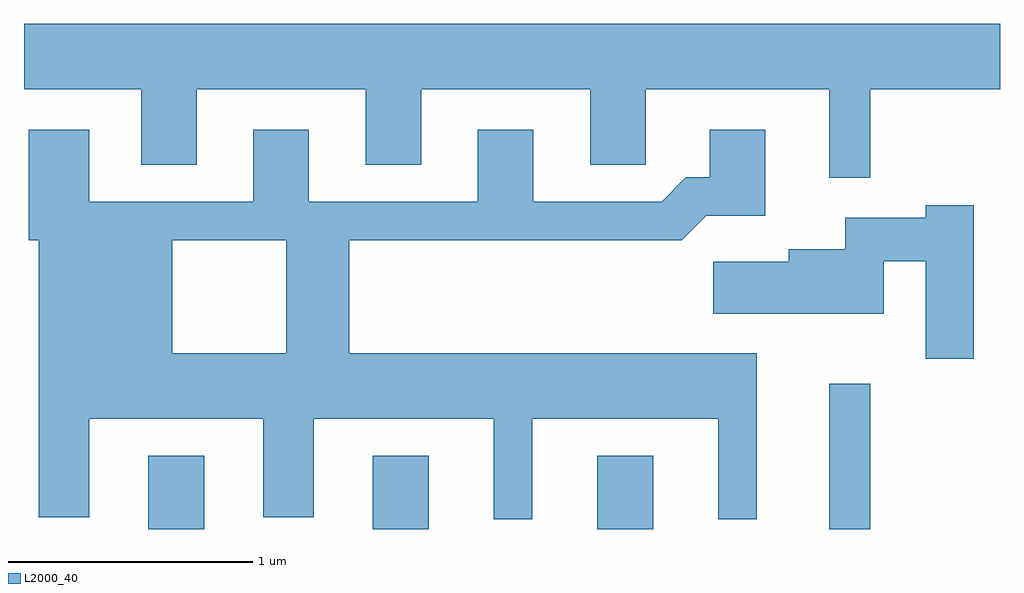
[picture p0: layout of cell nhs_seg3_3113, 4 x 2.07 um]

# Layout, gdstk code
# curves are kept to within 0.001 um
import gdstk
lib = gdstk.Library(unit=1e-6, precision=1e-09)
def R(c, l, rs):  # rectangles x0, y0, x1, y1
    for r in rs: c.add(gdstk.rectangle(r[:2], r[2:], *l))
def A(c, l, x, y, w, h, nx, ny, dx, dy):  # array of equal rectangles
    R(c, l, [(x+i*dx, y+j*dy, x+i*dx+w, y+j*dy+h) for i in range(nx) for j in range(ny)])
def P(c, l, *ps):  # polygons
    for p in ps: c.add(gdstk.Polygon(p, *l))
L2000_40 = (2000, 40)

nhs_seg3_3113 = lib.new_cell('nhs_seg3_3113')
A(nhs_seg3_3113, L2000_40, 276.121, 1221.892, 0.228, 0.302, 3, 1, 0.92, 0)
R(nhs_seg3_3113, L2000_40, [(278.911,1221.892,279.079,1222.488)])
P(nhs_seg3_3113, L2000_40, [(279.079,1223.696),(279.611,1223.696),(279.611,1223.964),(275.611,1223.964),(275.611,1223.696),(276.091,1223.696),(276.091,1223.386),(276.319,1223.386),(276.319,1223.696),(277.011,1223.696),(277.011,1223.386),(277.239,1223.386),(277.239,1223.696),(277.931,1223.696),(277.931,1223.386),(278.159,1223.386),(278.159,1223.696),(278.911,1223.696),(278.911,1223.333),(279.079,1223.333)],
  [(275.879,1221.941),(275.879,1222.346),(276.591,1222.346),(276.591,1221.941),(276.799,1221.941),(276.799,1222.346),(277.536,1222.346),(277.536,1221.933),(277.694,1221.933),(277.694,1222.346),(278.456,1222.346),(278.456,1221.933),(278.614,1221.933),(278.614,1222.614),(276.944,1222.614),(276.944,1223.076),(278.307,1223.076),(278.407,1223.176),(278.649,1223.176),(278.649,1223.529),(278.421,1223.529),(278.421,1223.334),(278.324,1223.334),(278.224,1223.234),(277.699,1223.234),(277.699,1223.529),(277.471,1223.529),(277.471,1223.234),(276.779,1223.234),(276.779,1223.529),(276.551,1223.529),(276.551,1223.234),(275.879,1223.234),(275.879,1223.529),(275.631,1223.529),(275.631,1223.076),(275.671,1223.076),(275.671,1222.614),(276.219,1222.614),(276.219,1223.076),(276.686,1223.076),(276.686,1222.614),(275.671,1222.614),(275.671,1221.941)],
  [(279.504,1223.219),(279.306,1223.219),(279.306,1223.169),(278.976,1223.169),(278.976,1223.039),(278.746,1223.039),(278.746,1222.989),(278.436,1222.989),(278.436,1222.776),(279.134,1222.776),(279.134,1222.991),(279.306,1222.991),(279.306,1222.591),(279.504,1222.591)])

lib.write_gds('nhs_seg3_3113.gds')
